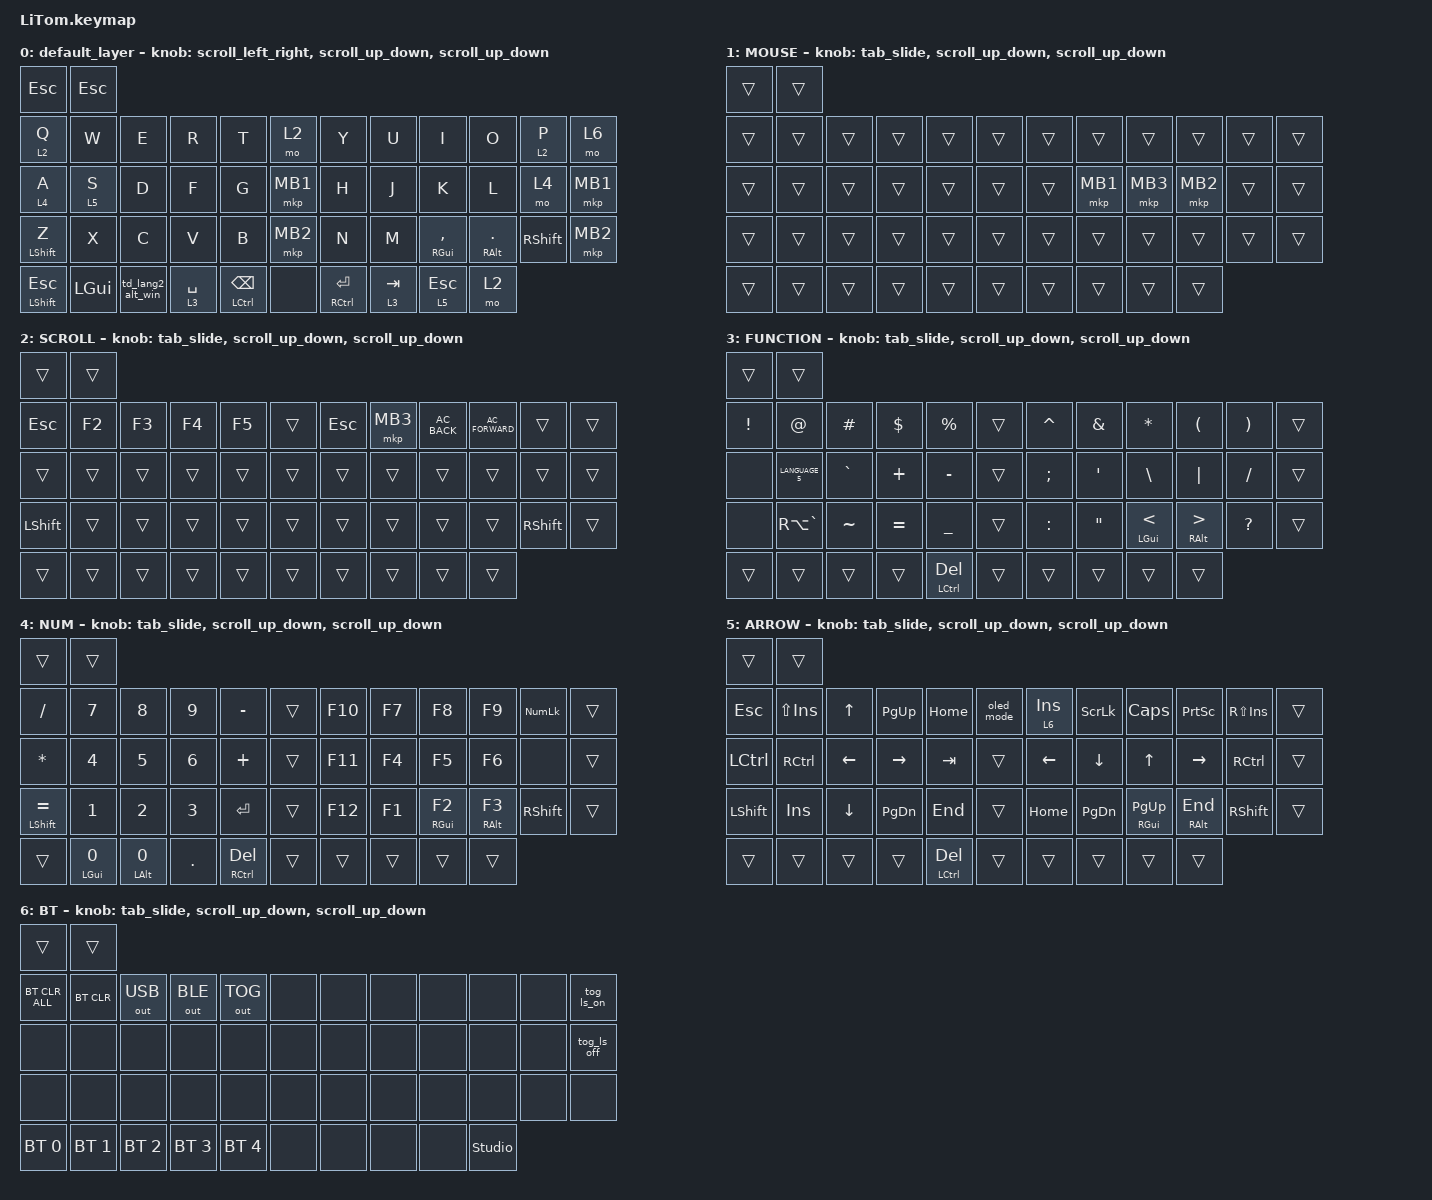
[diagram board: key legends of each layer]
#include <zephyr/dt-bindings/input/input-event-codes.h>
#include <input/processors/runtime-input-processor.dtsi>
#include <behaviors/runtime-input-processor.dtsi>
#include <behaviors/runtime_macro.dtsi>
#include <behaviors/runtime-sensor-rotate.dtsi>
#include <layout_shift.dtsi>
#include <behaviors.dtsi>
#include <dt-bindings/zmk/bt.h>
#include <dt-bindings/zmk/keys.h>
#include <dt-bindings/zmk/outputs.h>
#include <dt-bindings/zmk/pointing.h>

// &mouse_runtime_input_processor {
//     temp-layer-enabled;
//     temp-layer = <1>;
//     temp-layer-activation-delay-ms = <0>;
//     temp-layer-deactivation-delay-ms = <500>;
// };

#undef ZMK_POINTING_DEFAULT_SCRL_VAL

#define ZMK_POINTING_DEFAULT_SCRL_VAL 80


&tog_ls { layout-maps = <&layout_shift_map_us_to_jis>; };
&tog_ls_on { layout-maps = <&layout_shift_map_us_to_jis>; };
&tog_ls_off { layout-maps = <&layout_shift_map_us_to_jis>; };

&lt {
    quick-tap-ms = <200>;
    tapping-term-ms = <180>;
};

&mt {
    quick-tap-ms = <200>;
    tapping-term-ms = <180>;
};

/ {
    behaviors {

        // Keymap Editor を使用すると include <layout_shift_kp_override.dtsi> が一番上に移動するため
        // layout_shift_kp_override.dtsi の内容を直接記載
        // Keep the original key_press behavior for ZMK core components

        original_key_press: original_key_press {
            compatible = "zmk,behavior-key-press";
            #binding-cells = <1>;
            label = "KEY_PRESS";
        };

        // Override the existing &kp behavior to use our custom implementation

        kp: key_press {
            compatible = "zmk,behavior-layout-shift-key-press";
            #binding-cells = <1>;
            label = "LAYOUT_SHIFT_KEY_PRESS";
        };

        scroll_up_down: behavior_sensor_rotate_mouse_wheel_up_down {
            compatible = "zmk,behavior-runtime-sensor-rotate";
            label = "ENCODER_MSC_DOWN_UP";
            #sensor-binding-cells = <0>;
            cw-binding = <&msc SCRL_DOWN>;
            ccw-binding = <&msc SCRL_UP>;
            tap-ms = <20>;
        };

        scroll_left_right: behavior_sensor_rotate_mouse_wheel_left_right {
            compatible = "zmk,behavior-runtime-sensor-rotate";
            label = "ENCODER_MSC_LEFT_RIGHT";
            #sensor-binding-cells = <0>;
            cw-binding = <&msc SCRL_RIGHT>;
            ccw-binding = <&msc SCRL_LEFT>;
            tap-ms = <20>;
        };

        tab_slide_mac: behavior_sensor_rotate_tab_slide_mac {
            compatible = "zmk,behavior-runtime-sensor-rotate";
            label = "ENCODER_TAB_SLIDE_MAC";
            #sensor-binding-cells = <0>;
            cw-binding = <&kp LA(LG(RIGHT_ARROW))>;
            ccw-binding = <&kp LA(LG(LEFT_ARROW))>;
            tap-ms = <20>;
        };

        tab_slide: behavior_sensor_rotate_tab_slide {
            compatible = "zmk,behavior-runtime-sensor-rotate";
            label = "ENCODER_TAB_SLIDE";
            #sensor-binding-cells = <0>;
            cw-binding = <&kp LC(PAGE_DOWN)>;
            ccw-binding = <&kp LC(PAGE_UP)>;
            tap-ms = <20>;
        };

        mt_bl: mt_bl {
            compatible = "zmk,behavior-hold-tap";
            label = "MT_BL";
            bindings = <&kp>, <&kp>;

            #binding-cells = <2>;
            flavor = "balanced";
            tapping-term-ms = <180>;
            quick-tap-ms = <300>;
        };

        lt_bl: lt_bl {
            compatible = "zmk,behavior-hold-tap";
            label = "LT_BL";
            bindings = <&mo>, <&kp>;

            #binding-cells = <2>;
            flavor = "balanced";
            tapping-term-ms = <200>;
            quick-tap-ms = <300>;
        };

        lt_tp: lt_tp {
            compatible = "zmk,behavior-hold-tap";
            label = "LT_TP";
            bindings = <&mo>, <&kp>;

            #binding-cells = <2>;
            quick-tap-ms = <300>;
            flavor = "tap-preferred";
            tapping-term-ms = <200>;
        };

        td_lang2_alt_win: td_lang2_alt_win {
            compatible = "zmk,behavior-tap-dance";
            label = "TD_LANG2_ALT_WIN";
            #binding-cells = <0>;
            bindings = <&mt LEFT_ALT LANGUAGE_2>, <&mt LEFT_GUI LANGUAGE_1>;

            tapping-term-ms = <180>;
        };
    };

    keymap: combos {
        compatible = "zmk,combos";

        open-square-bracket {
            bindings = <&kp LEFT_BRACKET>;
            key-positions = <22 21>;
        };

        close-square-bracket {
            bindings = <&kp RIGHT_BRACKET>;
            key-positions = <23 22>;
        };
    };

    keymap {
        compatible = "zmk,keymap";

        default_layer {
            bindings = <
&kp ESCAPE             &kp ESCAPE
&lt_bl 2 Q             &kp W         &kp E              &kp R        &kp T                &mo 2     &kp Y            &kp U      &kp I                &kp O                 &lt_bl 2 P       &mo 6
&lt_tp 4 A             &lt_bl 5 S    &kp D              &kp F        &kp G                &mkp MB1  &kp H            &kp J      &kp K                &kp L                 &mo 4            &mkp MB1
&mt_bl LEFT_SHIFT Z    &kp X         &kp C              &kp V        &kp B                &mkp MB2  &kp N            &kp M      &mt RIGHT_GUI COMMA  &mt RIGHT_ALT PERIOD  &kp RIGHT_SHIFT  &mkp MB2
&mt LEFT_SHIFT ESCAPE  &kp LEFT_GUI  &td_lang2_alt_win  &lt 3 SPACE  &mt LCTRL BACKSPACE  &none     &mt RCTRL ENTER  &lt 3 TAB  &lt 5 ESCAPE         &mo 2
            >;

            sensor-bindings = <
                &scroll_left_right
                &scroll_up_down
                &scroll_up_down
            >;
        };

        MOUSE {
            bindings = <
&trans  &trans
&trans  &trans  &trans  &trans  &trans  &trans  &trans  &trans    &trans    &trans    &trans  &trans
&trans  &trans  &trans  &trans  &trans  &trans  &trans  &mkp MB1  &mkp MB3  &mkp MB2  &trans  &trans
&trans  &trans  &trans  &trans  &trans  &trans  &trans  &trans    &trans    &trans    &trans  &trans
&trans  &trans  &trans  &trans  &trans  &trans  &trans  &trans    &trans    &trans
            >;

            sensor-bindings = <
                &tab_slide
                &scroll_up_down
                &scroll_up_down
            >;
        };

        SCROLL {
            bindings = <
&trans          &trans
&kp ESCAPE      &kp F2  &kp F3  &kp F4  &kp F5  &trans  &kp ESCAPE  &mkp MB3  &kp C_AC_BACK  &kp C_AC_FORWARD  &trans      &trans
&trans          &trans  &trans  &trans  &trans  &trans  &trans      &trans    &trans         &trans            &trans      &trans
&kp LEFT_SHIFT  &trans  &trans  &trans  &trans  &trans  &trans      &trans    &trans         &trans            &kp RSHIFT  &trans
&trans          &trans  &trans  &trans  &trans  &trans  &trans      &trans    &trans         &trans
            >;

            sensor-bindings = <
                &tab_slide
                &scroll_up_down
                &scroll_up_down
            >;
        };

        FUNCTION {
            bindings = <
&trans           &trans
&kp EXCLAMATION  &kp AT_SIGN     &kp HASH   &kp DOLLAR  &kp PERCENT       &trans  &kp CARET      &kp AMPERSAND      &kp ASTERISK            &kp LEFT_PARENTHESIS        &kp RIGHT_PARENTHESIS  &trans
&none            &kp LANGUAGE_5  &kp GRAVE  &kp PLUS    &kp MINUS         &trans  &kp SEMICOLON  &kp SINGLE_QUOTE   &kp BACKSLASH           &kp PIPE                    &kp SLASH              &trans
&none            &kp RA(GRAVE)   &kp TILDE  &kp EQUAL   &kp UNDERSCORE    &trans  &kp COLON      &kp DOUBLE_QUOTES  &mt LEFT_GUI LESS_THAN  &mt RIGHT_ALT GREATER_THAN  &kp QUESTION           &trans
&trans           &trans          &trans     &trans      &mt LCTRL DELETE  &trans  &trans         &trans             &trans                  &trans
            >;

            sensor-bindings = <
                &tab_slide
                &scroll_up_down
                &scroll_up_down
            >;
        };

        NUM {
            bindings = <
&trans                &trans
&kp SLASH             &kp NUMBER_7              &kp NUMBER_8              &kp NUMBER_9  &kp MINUS         &trans  &kp F10  &kp F7  &kp F8            &kp F9            &kp KP_NUMLOCK   &trans
&kp ASTERISK          &kp NUMBER_4              &kp NUMBER_5              &kp NUMBER_6  &kp PLUS          &trans  &kp F11  &kp F4  &kp F5            &kp F6            &none            &trans
&mt LEFT_SHIFT EQUAL  &kp NUMBER_1              &kp NUMBER_2              &kp NUMBER_3  &kp ENTER         &trans  &kp F12  &kp F1  &mt RIGHT_GUI F2  &mt RIGHT_ALT F3  &kp RIGHT_SHIFT  &trans
&trans                &mt_bl LEFT_GUI NUMBER_0  &mt_bl LEFT_ALT NUMBER_0  &kp PERIOD    &mt RCTRL DELETE  &trans  &trans   &trans  &trans            &trans
            >;

            sensor-bindings = <
                &tab_slide
                &scroll_up_down
                &scroll_up_down
            >;
        };

        ARROW {
            bindings = <
&trans      &trans
&kp ESCAPE  &kp LS(INS)  &kp UP_ARROW    &kp PAGE_UP      &kp HOME          &oled_mode  &lt_bl 6 INS    &kp SCROLLLOCK  &kp CAPSLOCK           &kp PRINTSCREEN    &kp RS(INS)      &trans
&kp LCTRL   &kp RCTRL    &kp LEFT        &kp RIGHT_ARROW  &kp TAB           &trans      &kp LEFT_ARROW  &kp DOWN_ARROW  &kp UP_ARROW           &kp RIGHT_ARROW    &kp RCTRL        &trans
&kp LSHIFT  &kp INS      &kp DOWN_ARROW  &kp PAGE_DOWN    &kp END           &trans      &kp HOME        &kp PAGE_DOWN   &mt RIGHT_GUI PAGE_UP  &mt RIGHT_ALT END  &kp RIGHT_SHIFT  &trans
&trans      &trans       &trans          &trans           &mt LCTRL DELETE  &trans      &trans          &trans          &trans                 &trans
            >;

            sensor-bindings = <
                &tab_slide
                &scroll_up_down
                &scroll_up_down
            >;
        };

        BT {
            bindings = <
&trans          &trans
&bt BT_CLR_ALL  &bt BT_CLR    &out OUT_USB  &out OUT_BLE  &out OUT_TOG  &none  &none  &none  &none  &none           &none  &tog_ls_on
&none           &none         &none         &none         &none         &none  &none  &none  &none  &none           &none  &tog_ls_off
&none           &none         &none         &none         &none         &none  &none  &none  &none  &none           &none  &none
&bt BT_SEL 0    &bt BT_SEL 1  &bt BT_SEL 2  &bt BT_SEL 3  &bt BT_SEL 4  &none  &none  &none  &none  &studio_unlock
            >;

            sensor-bindings = <
                &tab_slide
                &scroll_up_down
                &scroll_up_down
            >;
        };
    };
};
